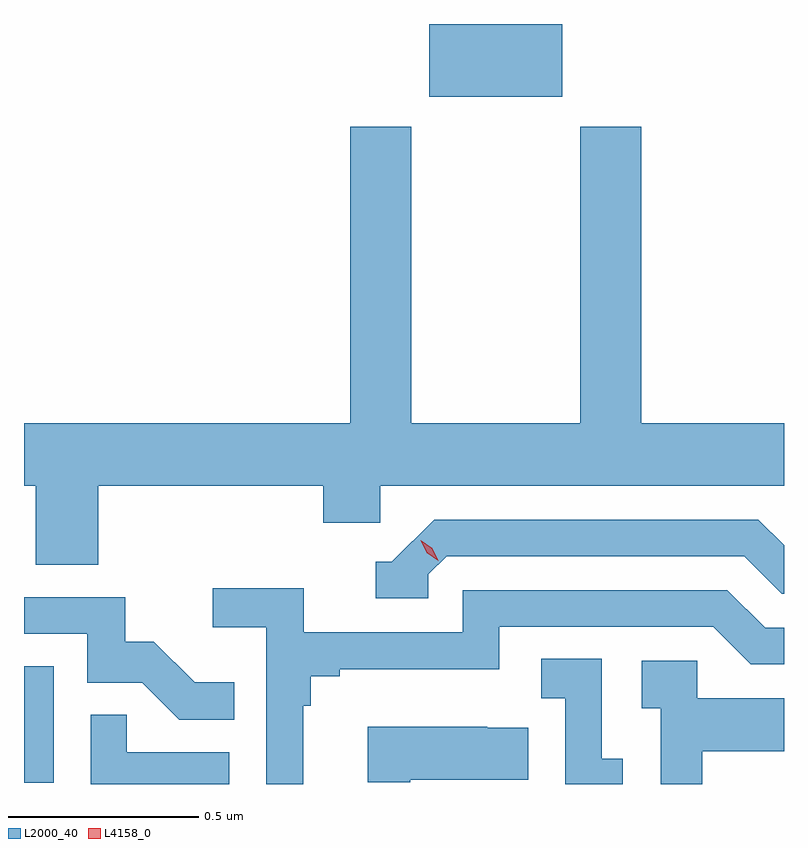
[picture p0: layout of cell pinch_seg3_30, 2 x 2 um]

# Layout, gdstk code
import gdstk
lib = gdstk.Library(unit=1e-6, precision=1e-09)
def R(c, l, rs):  # rectangles x0, y0, x1, y1
    for r in rs: c.add(gdstk.rectangle(r[:2], r[2:], *l))
def P(c, l, *ps):  # polygons
    for p in ps: c.add(gdstk.Polygon(p, *l))
L2000_40 = (2000, 40)
L4158_0 = (4158, 0)

pinch_seg3_30 = lib.new_cell('pinch_seg3_30')
R(pinch_seg3_30, L2000_40, [(1090.48,745.422,1090.558,745.729), (1091.546,747.227,1091.896,747.419)])
P(pinch_seg3_30, L2000_40, [(1090.676,746.204),(1091.267,746.204),(1091.267,746.106),(1091.418,746.106),(1091.418,746.204),(1092.48,746.204),(1092.48,746.368),(1092.104,746.368),(1092.104,747.148),(1091.944,747.148),(1091.944,746.368),(1091.499,746.368),(1091.499,747.148),(1091.339,747.148),(1091.339,746.368),(1090.48,746.368),(1090.48,746.204),(1090.511,746.204),(1090.511,745.996),(1090.676,745.996)],
  [(1091.544,745.971),(1091.592,746.019),(1092.375,746.019),(1092.474,745.92),(1092.48,745.92),(1092.48,746.047),(1092.412,746.115),(1091.559,746.115),(1091.448,746.004),(1091.405,746.004),(1091.405,745.908),(1091.544,745.908)],
  [(1091.215,745.625),(1091.234,745.625),(1091.234,745.702),(1091.311,745.702),(1091.311,745.721),(1091.73,745.721),(1091.73,745.833),(1092.294,745.833),(1092.393,745.734),(1092.48,745.734),(1092.48,745.83),(1092.43,745.83),(1092.331,745.929),(1091.634,745.929),(1091.634,745.818),(1091.216,745.818),(1091.216,745.934),(1090.977,745.934),(1090.977,745.832),(1091.118,745.832),(1091.118,745.419),(1091.215,745.419)],
  [(1091.033,745.687),(1090.929,745.687),(1090.822,745.794),(1090.746,745.794),(1090.746,745.911),(1090.48,745.911),(1090.48,745.815),(1090.647,745.815),(1090.647,745.686),(1090.791,745.686),(1090.889,745.588),(1091.033,745.588)],
  [(1092.055,745.485),(1092,745.485),(1092,745.748),(1091.841,745.748),(1091.841,745.645),(1091.904,745.645),(1091.904,745.419),(1092.055,745.419)],
  [(1092.265,745.505),(1092.48,745.505),(1092.48,745.645),(1092.252,745.645),(1092.252,745.743),(1092.105,745.743),(1092.105,745.619),(1092.156,745.619),(1092.156,745.419),(1092.265,745.419)],
  [(1091.02,745.503),(1090.751,745.503),(1090.751,745.601),(1090.656,745.601),(1090.656,745.419),(1091.02,745.419)],
  [(1091.497,745.43),(1091.807,745.43),(1091.807,745.567),(1091.699,745.567),(1091.699,745.57),(1091.385,745.57),(1091.385,745.423),(1091.497,745.423)])
P(pinch_seg3_30, L4158_0, [(1091.57,746.007),(1091.54,746.027),(1091.524,746.059),(1091.524,746.06),(1091.524,746.06),(1091.554,746.04),(1091.57,746.008),(1091.57,746.007)])

lib.write_gds('pinch_seg3_30.gds')
